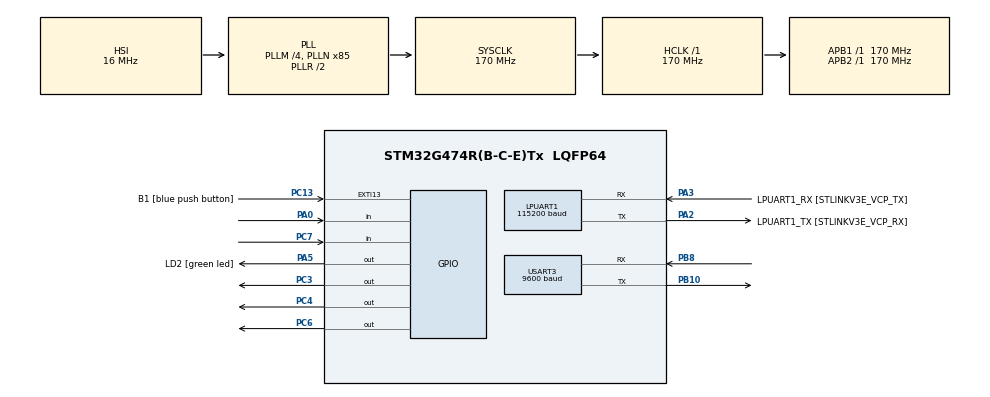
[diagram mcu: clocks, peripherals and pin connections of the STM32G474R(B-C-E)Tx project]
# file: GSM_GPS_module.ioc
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LPUART1.BaudRate=115200
LPUART1.WordLength=UART_WORDLENGTH_8B
Mcu.Family=STM32G4
Mcu.Name=STM32G474R(B-C-E)Tx
Mcu.Package=LQFP64
NVIC.EXTI15_10_IRQn=true\:0\:0\:false\:false\:true\:true\:true\:true
NVIC.PriorityGroup=NVIC_PRIORITYGROUP_4
NVIC.USART3_IRQn=true\:0\:0\:false\:false\:true\:true\:true\:true
PA0.GPIO_PuPd=GPIO_PULLUP
PA0.Signal=GPIO_Input
PA13.GPIO_Label=T_SWDIO
PA13.Mode=Serial_Wire
PA13.Signal=SYS_JTMS-SWDIO
PA14.GPIO_Label=T_SWCLK
PA14.Mode=Serial_Wire
PA14.Signal=SYS_JTCK-SWCLK
PA2.GPIO_Label=LPUART1_TX [STLINKV3E_VCP_RX]
PA2.Mode=Asynchronous
PA2.Signal=LPUART1_TX
PA3.GPIO_Label=LPUART1_RX [STLINKV3E_VCP_TX]
PA3.Mode=Asynchronous
PA3.Signal=LPUART1_RX
PA5.GPIO_Label=LD2 [green led]
PA5.Signal=GPIO_Output
PB10.Mode=Asynchronous
PB10.Signal=USART3_TX
PB3.GPIO_Label=T_SWO
PB3.Signal=SYS_JTDO-SWO
PB8-BOOT0.Mode=Asynchronous
PB8-BOOT0.Signal=USART3_RX
PC13.GPIO_Label=B1 [blue push button]
PC13.Signal=GPXTI13
PC14-OSC32_IN.Mode=LSE-External-Oscillator
PC14-OSC32_IN.Signal=RCC_OSC32_IN
PC15-OSC32_OUT.Mode=LSE-External-Oscillator
PC15-OSC32_OUT.Signal=RCC_OSC32_OUT
PC3.Signal=GPIO_Output
PC4.Signal=GPIO_Output
PC6.Signal=GPIO_Output
PC7.GPIO_PuPd=GPIO_PULLDOWN
PC7.Signal=GPIO_Input
PF0-OSC_IN.Mode=HSE-External-Oscillator
PF0-OSC_IN.Signal=RCC_OSC_IN
PF1-OSC_OUT.Mode=HSE-External-Oscillator
PF1-OSC_OUT.Signal=RCC_OSC_OUT
ProjectManager.HeapSize=0x200
ProjectManager.StackSize=0x400
ProjectManager.TargetToolchain=STM32CubeIDE
RCC.ADC12Freq_Value=170000000
RCC.ADC345Freq_Value=170000000
RCC.AHBFreq_Value=170000000
RCC.APB1Freq_Value=170000000
RCC.APB1TimFreq_Value=170000000
RCC.APB2Freq_Value=170000000
RCC.APB2TimFreq_Value=170000000
RCC.CortexFreq_Value=170000000
RCC.EXTERNAL_CLOCK_VALUE=12288000
RCC.HCLKFreq_Value=170000000
RCC.HSE_VALUE=24000000
RCC.HSI48_VALUE=48000000
RCC.HSI_VALUE=16000000
RCC.PLLM=RCC_PLLM_DIV4
RCC.PLLN=85
RCC.RTCClockSelection=RCC_RTCCLKSOURCE_LSE
RCC.SYSCLKFreq_VALUE=170000000
RCC.SYSCLKSource=RCC_SYSCLKSOURCE_PLLCLK
RCC.USBFreq_Value=170000000
RCC.VCOOutputFreq_Value=340000000
USART3.BaudRate=9600
USART3.VirtualMode-Asynchronous=VM_ASYNC
VP_SYS_VS_DBSignals.Mode=DisableDeadBatterySignals
board=NUCLEO-G474RE

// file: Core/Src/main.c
/* USER CODE BEGIN Header */
/**
  ******************************************************************************
  * @file           : main.c
  * @brief          : Main program body
  ******************************************************************************
  * @attention
  *
  * Copyright (c) 2024 STMicroelectronics.
  * All rights reserved.
  *
  * This software is licensed under terms that can be found in the LICENSE file
  * in the root directory of this software component.
  * If no LICENSE file comes with this software, it is provided AS-IS.
  *
  ******************************************************************************
  */
/* USER CODE END Header */
#include "main.h"

/* USER CODE BEGIN Includes */
#include <string.h>
#include <stdio.h>

/* USER CODE END Includes */

/* USER CODE BEGIN PD */
/* Buffers for SMS and Call */
char smsMessage[] = "ZONE 1 ALARM ON";
char phoneNumber[] = "+358400158835"; // Replace with your phone number

/* Buffer for receiving responses */
char rxBuffer[100];
uint8_t rxIndex = 0;
uint8_t rxComplete = 0;

#define Zone_one_switch GPIO_PIN_0
#define Zone_one_RED_LED GPIO_PIN_3
#define Zone_one_GREEN_LED GPIO_PIN_6
#define Zone_one_sensor GPIO_PIN_7

#define buzzer GPIO_PIN_4

uint8_t zoneOneSwitchPressed = 0;

/* USER CODE END PD */

UART_HandleTypeDef hlpuart1;
UART_HandleTypeDef huart3;

void SystemClock_Config(void);
static void MX_GPIO_Init(void);
static void MX_LPUART1_UART_Init(void);
static void MX_USART3_UART_Init(void);
/* USER CODE BEGIN PFP */

void sendSMS(char* phoneNumber, char* message);
void makeCall(char* phoneNumber);
void HAL_UART_RxCpltCallback(UART_HandleTypeDef *huart);

/* USER CODE END PFP */

int main(void)
{

  /* MCU Configuration--------------------------------------------------------*/

  /* Reset of all peripherals, Initializes the Flash interface and the Systick. */
  HAL_Init();

  /* Configure the system clock */
  SystemClock_Config();

  /* Initialize all configured peripherals */
  MX_GPIO_Init();
  MX_LPUART1_UART_Init();
  MX_USART3_UART_Init();
  /* USER CODE BEGIN 2 */

  char buff1[100];
  char buff2[100];
  char buff3[100];
  char buff4[100];

  sprintf(buff1,"Zone 1 Input Mode off!\n");
  sprintf(buff2,"Zone 1 Input Mode ON\n");
  sprintf(buff3,"Zone 1 signal detected....\n");
  sprintf(buff4,"No Zone 1 signal detected\n");

  HAL_UART_RegisterCallback(&huart3, HAL_UART_RX_COMPLETE_CB_ID, HAL_UART_RxCpltCallback); // Register UART RX callback
  HAL_UART_Receive_IT(&huart3, (uint8_t*)rxBuffer, 1); // Start UART receive interrupt

  /* USER CODE END 2 */

  /* Infinite loop */
  while (1)
  {

    /* USER CODE BEGIN 3 */

	  if (HAL_GPIO_ReadPin(GPIOA, Zone_one_switch) == GPIO_PIN_RESET) // If PA0 (switch) is low/Zone 1 is pressed
		  {
			  HAL_UART_Transmit(&hlpuart1, (uint8_t *)buff2, strlen(buff1), HAL_MAX_DELAY);
			  HAL_Delay(10);

			  if(HAL_GPIO_ReadPin(GPIOC, Zone_one_sensor) == GPIO_PIN_SET) //PC7 == 1/Sensor contact enabled
			  {
				  HAL_UART_Transmit(&hlpuart1, (uint8_t *)buff3, strlen(buff1), HAL_MAX_DELAY);
				  HAL_GPIO_WritePin(GPIOC, Zone_one_GREEN_LED, GPIO_PIN_RESET); // Turn off green LED
				  HAL_GPIO_WritePin(GPIOC, Zone_one_RED_LED, GPIO_PIN_SET); // Turn on red LED
				  HAL_GPIO_WritePin(GPIOC, buzzer, GPIO_PIN_SET); // Turn On the buzzer

				  if (!zoneOneSwitchPressed) // Check if switch is not pressed before
						{

					  	  HAL_UART_Transmit(&hlpuart1, (uint8_t*)"Sending SMS & CALL\r\n", strlen("Sending SMS & CALL\r\n"), HAL_MAX_DELAY);

					  	  // Check network registration
						  HAL_UART_Transmit(&huart3, (uint8_t*)"AT+CREG?\r\n", strlen("AT+CREG?\r\n"), HAL_MAX_DELAY);

						  while (!rxComplete); // Wait until response is received
						  rxComplete = 0;

						  if (strstr(rxBuffer, "OK") != NULL)
						          {
						            // Set SMS mode to text
						            HAL_UART_Transmit(&huart3, (uint8_t*)"AT+CMGF=1\r\n", strlen("AT+CMGF=1\r\n"), HAL_MAX_DELAY);

						            while (!rxComplete); // Wait until response is received
						            rxComplete = 0;

						            if (strstr(rxBuffer, "OK") != NULL)
						            {
						              // Send SMS
						              sendSMS(phoneNumber, smsMessage);

						              HAL_Delay(2000);

						              // Make a call
						              makeCall(phoneNumber);

						              // Send confirmation message
						              HAL_UART_Transmit(&hlpuart1, (uint8_t*)"Message sent and call made successfully.\r\n", strlen("Message sent and call made successfully.\r\n"), HAL_MAX_DELAY);
						            }

						            else
						            {
						              // Send error message for setting SMS mode
						              HAL_UART_Transmit(&hlpuart1, (uint8_t*)"Error setting SMS mode.\r\n", strlen("Error setting SMS mode.\r\n"), HAL_MAX_DELAY);
						            }

						          }
						          else
						          {
						            // Send error message for network registration
						            HAL_UART_Transmit(&hlpuart1, (uint8_t*)"Error in network registration.\r\n", strlen("Error in network registration.\r\n"), HAL_MAX_DELAY);
						          }
						  HAL_Delay(2000);

						  // Set switch pressed flag
						  zoneOneSwitchPressed = 1;
						}

				  HAL_Delay(100);
			  }

			  else //no sensor contact
			  {
				  HAL_UART_Transmit(&hlpuart1, (uint8_t *)buff4, strlen(buff1), HAL_MAX_DELAY);
				  HAL_GPIO_WritePin(GPIOC, Zone_one_GREEN_LED, GPIO_PIN_SET); // Turn on green LED
				  HAL_GPIO_WritePin(GPIOC, Zone_one_RED_LED, GPIO_PIN_RESET); // Turn off red LED
				  HAL_GPIO_WritePin(GPIOC, buzzer, GPIO_PIN_RESET); // Turn Off the buzzer
				  zoneOneSwitchPressed = 0;
				  HAL_Delay(100);
			  }

		  }

		  else // If PA0 is high
		  {
				  HAL_UART_Transmit(&hlpuart1, (uint8_t *)buff1, strlen(buff1), HAL_MAX_DELAY);
				  HAL_GPIO_WritePin(GPIOC, Zone_one_GREEN_LED, GPIO_PIN_RESET); // Turn off red LED
				  HAL_GPIO_WritePin(GPIOC, Zone_one_RED_LED, GPIO_PIN_RESET); // Turn off green LED
				  HAL_GPIO_WritePin(GPIOC, buzzer, GPIO_PIN_RESET); // Turn Off the buzzer
				  zoneOneSwitchPressed = 0;
				  HAL_Delay(100);
				  }

		  HAL_Delay(10); // Adjust delay as needed

  }
  /* USER CODE END 3 */
}

void SystemClock_Config(void)
{
  RCC_OscInitTypeDef RCC_OscInitStruct = {0};
  RCC_ClkInitTypeDef RCC_ClkInitStruct = {0};

  /** Configure the main internal regulator output voltage
  */
  HAL_PWREx_ControlVoltageScaling(PWR_REGULATOR_VOLTAGE_SCALE1_BOOST);

  /** Initializes the RCC Oscillators according to the specified parameters
  * in the RCC_OscInitTypeDef structure.
  */
  RCC_OscInitStruct.OscillatorType = RCC_OSCILLATORTYPE_HSI;
  RCC_OscInitStruct.HSIState = RCC_HSI_ON;
  RCC_OscInitStruct.HSICalibrationValue = RCC_HSICALIBRATION_DEFAULT;
  RCC_OscInitStruct.PLL.PLLState = RCC_PLL_ON;
  RCC_OscInitStruct.PLL.PLLSource = RCC_PLLSOURCE_HSI;
  RCC_OscInitStruct.PLL.PLLM = RCC_PLLM_DIV4;
  RCC_OscInitStruct.PLL.PLLN = 85;
  RCC_OscInitStruct.PLL.PLLP = RCC_PLLP_DIV2;
  RCC_OscInitStruct.PLL.PLLQ = RCC_PLLQ_DIV2;
  RCC_OscInitStruct.PLL.PLLR = RCC_PLLR_DIV2;
  if (HAL_RCC_OscConfig(&RCC_OscInitStruct) != HAL_OK)
  {
    Error_Handler();
  }

  /** Initializes the CPU, AHB and APB buses clocks
  */
  RCC_ClkInitStruct.ClockType = RCC_CLOCKTYPE_HCLK|RCC_CLOCKTYPE_SYSCLK
                              |RCC_CLOCKTYPE_PCLK1|RCC_CLOCKTYPE_PCLK2;
  RCC_ClkInitStruct.SYSCLKSource = RCC_SYSCLKSOURCE_PLLCLK;
  RCC_ClkInitStruct.AHBCLKDivider = RCC_SYSCLK_DIV1;
  RCC_ClkInitStruct.APB1CLKDivider = RCC_HCLK_DIV1;
  RCC_ClkInitStruct.APB2CLKDivider = RCC_HCLK_DIV1;

  if (HAL_RCC_ClockConfig(&RCC_ClkInitStruct, FLASH_LATENCY_4) != HAL_OK)
  {
    Error_Handler();
  }
}

static void MX_LPUART1_UART_Init(void)
{

  hlpuart1.Instance = LPUART1;
  hlpuart1.Init.BaudRate = 115200;
  hlpuart1.Init.WordLength = UART_WORDLENGTH_8B;
  hlpuart1.Init.StopBits = UART_STOPBITS_1;
  hlpuart1.Init.Parity = UART_PARITY_NONE;
  hlpuart1.Init.Mode = UART_MODE_TX_RX;
  hlpuart1.Init.HwFlowCtl = UART_HWCONTROL_NONE;
  hlpuart1.Init.OneBitSampling = UART_ONE_BIT_SAMPLE_DISABLE;
  hlpuart1.Init.ClockPrescaler = UART_PRESCALER_DIV1;
  hlpuart1.AdvancedInit.AdvFeatureInit = UART_ADVFEATURE_NO_INIT;
  if (HAL_UART_Init(&hlpuart1) != HAL_OK)
  {
    Error_Handler();
  }
  if (HAL_UARTEx_SetTxFifoThreshold(&hlpuart1, UART_TXFIFO_THRESHOLD_1_8) != HAL_OK)
  {
    Error_Handler();
  }
  if (HAL_UARTEx_SetRxFifoThreshold(&hlpuart1, UART_RXFIFO_THRESHOLD_1_8) != HAL_OK)
  {
    Error_Handler();
  }
  if (HAL_UARTEx_DisableFifoMode(&hlpuart1) != HAL_OK)
  {
    Error_Handler();
  }

}

static void MX_USART3_UART_Init(void)
{

  huart3.Instance = USART3;
  huart3.Init.BaudRate = 9600;
  huart3.Init.WordLength = UART_WORDLENGTH_8B;
  huart3.Init.StopBits = UART_STOPBITS_1;
  huart3.Init.Parity = UART_PARITY_NONE;
  huart3.Init.Mode = UART_MODE_TX_RX;
  huart3.Init.HwFlowCtl = UART_HWCONTROL_NONE;
  huart3.Init.OverSampling = UART_OVERSAMPLING_16;
  huart3.Init.OneBitSampling = UART_ONE_BIT_SAMPLE_DISABLE;
  huart3.Init.ClockPrescaler = UART_PRESCALER_DIV1;
  huart3.AdvancedInit.AdvFeatureInit = UART_ADVFEATURE_NO_INIT;
  if (HAL_UART_Init(&huart3) != HAL_OK)
  {
    Error_Handler();
  }
  if (HAL_UARTEx_SetTxFifoThreshold(&huart3, UART_TXFIFO_THRESHOLD_1_8) != HAL_OK)
  {
    Error_Handler();
  }
  if (HAL_UARTEx_SetRxFifoThreshold(&huart3, UART_RXFIFO_THRESHOLD_1_8) != HAL_OK)
  {
    Error_Handler();
  }
  if (HAL_UARTEx_DisableFifoMode(&huart3) != HAL_OK)
  {
    Error_Handler();
  }

}

static void MX_GPIO_Init(void)
{
  GPIO_InitTypeDef GPIO_InitStruct = {0};

  /* GPIO Ports Clock Enable */
  __HAL_RCC_GPIOC_CLK_ENABLE();
  __HAL_RCC_GPIOF_CLK_ENABLE();
  __HAL_RCC_GPIOA_CLK_ENABLE();
  __HAL_RCC_GPIOB_CLK_ENABLE();

  /*Configure GPIO pin Output Level */
  HAL_GPIO_WritePin(GPIOC, GPIO_PIN_3|GPIO_PIN_4|GPIO_PIN_6, GPIO_PIN_RESET);

  /*Configure GPIO pin Output Level */
  HAL_GPIO_WritePin(LD2_GPIO_Port, LD2_Pin, GPIO_PIN_RESET);

  /*Configure GPIO pin : B1_Pin */
  GPIO_InitStruct.Pin = B1_Pin;
  GPIO_InitStruct.Mode = GPIO_MODE_IT_RISING;
  GPIO_InitStruct.Pull = GPIO_NOPULL;
  HAL_GPIO_Init(B1_GPIO_Port, &GPIO_InitStruct);

  /*Configure GPIO pins : PC3 PC4 PC6 */
  GPIO_InitStruct.Pin = GPIO_PIN_3|GPIO_PIN_4|GPIO_PIN_6;
  GPIO_InitStruct.Mode = GPIO_MODE_OUTPUT_PP;
  GPIO_InitStruct.Pull = GPIO_NOPULL;
  GPIO_InitStruct.Speed = GPIO_SPEED_FREQ_LOW;
  HAL_GPIO_Init(GPIOC, &GPIO_InitStruct);

  /*Configure GPIO pin : PA0 */
  GPIO_InitStruct.Pin = GPIO_PIN_0;
  GPIO_InitStruct.Mode = GPIO_MODE_INPUT;
  GPIO_InitStruct.Pull = GPIO_PULLUP;
  HAL_GPIO_Init(GPIOA, &GPIO_InitStruct);

  /*Configure GPIO pin : LD2_Pin */
  GPIO_InitStruct.Pin = LD2_Pin;
  GPIO_InitStruct.Mode = GPIO_MODE_OUTPUT_PP;
  GPIO_InitStruct.Pull = GPIO_NOPULL;
  GPIO_InitStruct.Speed = GPIO_SPEED_FREQ_LOW;
  HAL_GPIO_Init(LD2_GPIO_Port, &GPIO_InitStruct);

  /*Configure GPIO pin : PC7 */
  GPIO_InitStruct.Pin = GPIO_PIN_7;
  GPIO_InitStruct.Mode = GPIO_MODE_INPUT;
  GPIO_InitStruct.Pull = GPIO_PULLDOWN;
  HAL_GPIO_Init(GPIOC, &GPIO_InitStruct);

  /* EXTI interrupt init*/
  HAL_NVIC_SetPriority(EXTI15_10_IRQn, 0, 0);
  HAL_NVIC_EnableIRQ(EXTI15_10_IRQn);

}

/* USER CODE BEGIN 4 */

void sendSMS(char* phoneNumber, char* message)
{
  char smsCommand[50];
  sprintf(smsCommand, "AT+CMGS=\"%s\"\r\n", phoneNumber);

  HAL_UART_Transmit(&huart3, (uint8_t*)smsCommand, strlen(smsCommand), HAL_MAX_DELAY);
  HAL_Delay(1000); // Delay for module response

  HAL_UART_Transmit(&huart3, (uint8_t*)message, strlen(message), HAL_MAX_DELAY);
  HAL_UART_Transmit(&huart3, (uint8_t*)"\x1A", 1, HAL_MAX_DELAY); // Send Ctrl+Z to indicate end of message

  while (!rxComplete); // Wait until response is received
  rxComplete = 0;
}

void makeCall(char* phoneNumber)
{
  char callCommand[20];

  sprintf(callCommand, "ATD%s;\r\n", phoneNumber);

  HAL_UART_Transmit(&huart3, (uint8_t*)callCommand, strlen(callCommand), HAL_MAX_DELAY);

  while (!rxComplete); // Wait until response is received
  rxComplete = 0;
}

void HAL_UART_RxCpltCallback(UART_HandleTypeDef *huart)
{
  if (huart->Instance == USART3) // If data received from GSM module
  {
	  if (rxBuffer[rxIndex] == '\r' || rxBuffer[rxIndex] == '\n') // End of response
    {
      rxBuffer[rxIndex] = '\0'; // Null terminate string
      rxComplete = 1;
      rxIndex = 0;
      HAL_UART_Transmit(&hlpuart1, (uint8_t*)"Something received from GSM\r\n", strlen("Something received from GSM\r\n"), HAL_MAX_DELAY);
    }

    else
    {
      rxIndex++;
    }

    HAL_UART_Receive_IT(&huart3, (uint8_t*)(rxBuffer + rxIndex), 1); // Receive next character
  }
  else
  {
    // Handle other UART instances if any
  }
}

/* USER CODE END 4 */

void Error_Handler(void)
{
  __disable_irq();
  while (1)
  {
  }
}
